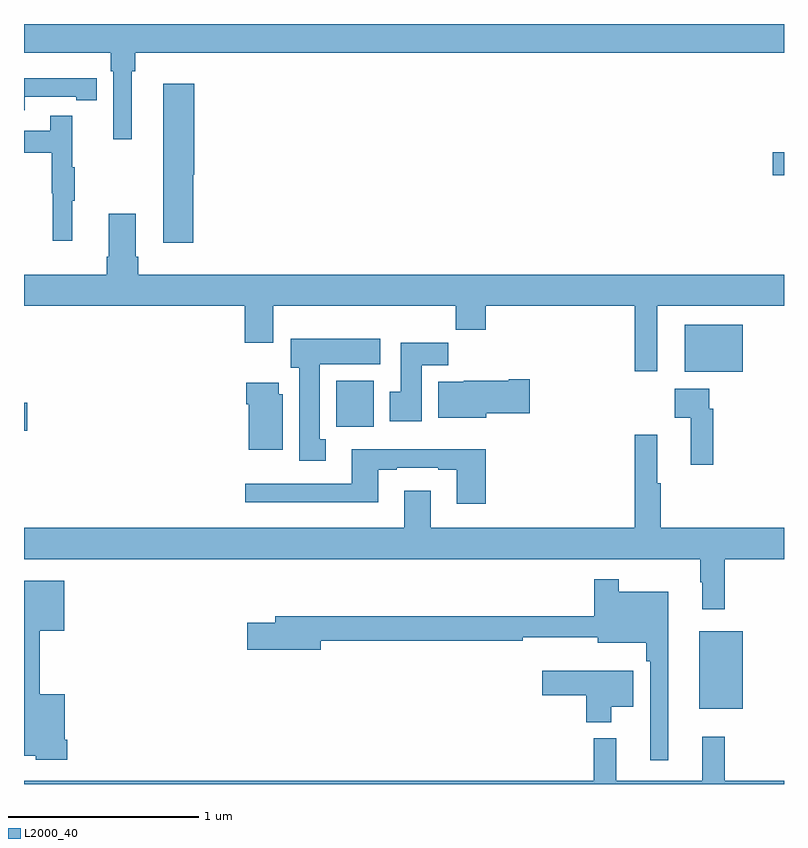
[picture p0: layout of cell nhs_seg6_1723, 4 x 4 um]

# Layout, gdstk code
import gdstk
lib = gdstk.Library(unit=1e-6, precision=1e-09)
def R(c, l, rs):  # rectangles x0, y0, x1, y1
    for r in rs: c.add(gdstk.rectangle(r[:2], r[2:], *l))
def P(c, l, *ps):  # polygons
    for p in ps: c.add(gdstk.Polygon(p, *l))
L2000_40 = (2000, 40)

nhs_seg6_1723 = lib.new_cell('nhs_seg6_1723')
R(nhs_seg6_1723, L2000_40, [(218.555,931.895,218.782,932.305), (215,933.359,215.017,933.506), (216.644,933.38,216.841,933.622), (218.477,933.671,218.782,933.916), (218.94,934.703,219,934.825)])
P(nhs_seg6_1723, L2000_40, [(215.566,935.252),(215.585,935.252),(215.585,935.348),(219,935.348),(219,935.5),(215,935.5),(215,935.348),(215.456,935.348),(215.456,935.252),(215.469,935.252),(215.469,934.893),(215.566,934.893)],
  [(215.004,935.118),(215.276,935.118),(215.276,935.098),(215.384,935.098),(215.384,935.214),(215.276,935.214),(215.276,935.215),(215,935.215),(215,935.046),(215.004,935.046)],
  [(215.891,934.707),(215.896,934.707),(215.896,935.185),(215.732,935.185),(215.732,934.35),(215.891,934.35)],
  [(215.255,934.571),(215.266,934.571),(215.266,934.745),(215.255,934.745),(215.255,935.017),(215.137,935.017),(215.137,934.938),(215,934.938),(215,934.822),(215.145,934.822),(215.145,934.608),(215.152,934.608),(215.152,934.359),(215.255,934.359)],
  [(218.332,934.016),(219,934.016),(219,934.18),(215.6,934.18),(215.6,934.276),(215.587,934.276),(215.587,934.501),(215.447,934.501),(215.447,934.276),(215.435,934.276),(215.435,934.18),(215,934.18),(215,934.016),(216.161,934.016),(216.161,933.822),(216.313,933.822),(216.313,934.016),(217.273,934.016),(217.273,933.892),(217.43,933.892),(217.43,934.016),(218.215,934.016),(218.215,933.672),(218.332,933.672)],
  [(216.589,933.314),(216.556,933.314),(216.556,933.71),(216.874,933.71),(216.874,933.844),(216.404,933.844),(216.404,933.69),(216.449,933.69),(216.449,933.201),(216.589,933.201)],
  [(217.093,933.704),(217.232,933.704),(217.232,933.823),(216.983,933.823),(216.983,933.564),(216.926,933.564),(216.926,933.408),(217.093,933.408)],
  [(217.432,933.452),(217.663,933.452),(217.663,933.63),(217.55,933.63),(217.55,933.622),(217.314,933.622),(217.314,933.616),(217.181,933.616),(217.181,933.428),(217.432,933.428)],
  [(216.361,933.552),(216.34,933.552),(216.34,933.613),(216.17,933.613),(216.17,933.5),(216.182,933.5),(216.182,933.26),(216.361,933.26)],
  [(218.627,933.476),(218.607,933.476),(218.607,933.58),(218.424,933.58),(218.424,933.428),(218.51,933.428),(218.51,933.18),(218.627,933.18)],
  [(217.43,933.262),(216.725,933.262),(216.725,933.081),(216.165,933.081),(216.165,932.984),(216.865,932.984),(216.865,933.153),(216.961,933.153),(216.961,933.165),(217.181,933.165),(217.181,933.153),(217.277,933.153),(217.277,932.976),(217.43,932.976)],
  [(218.351,933.084),(218.333,933.084),(218.333,933.337),(218.215,933.337),(218.215,932.848),(217.141,932.848),(217.141,933.043),(217.001,933.043),(217.001,932.848),(215,932.848),(215,932.684),(218.559,932.684),(218.559,932.561),(218.57,932.561),(218.57,932.421),(218.687,932.421),(218.687,932.684),(219,932.684),(219,932.848),(218.351,932.848)],
  [(218.392,932.512),(218.131,932.512),(218.131,932.578),(218.002,932.578),(218.002,932.383),(216.323,932.383),(216.323,932.349),(216.174,932.349),(216.174,932.207),(216.562,932.207),(216.562,932.254),(217.625,932.254),(217.625,932.273),(218.021,932.273),(218.021,932.243),(218.275,932.243),(218.275,932.147),(218.295,932.147),(218.295,931.626),(218.392,931.626)],
  [(215.228,931.732),(215.215,931.732),(215.215,931.972),(215.083,931.972),(215.083,932.306),(215.212,932.306),(215.212,932.569),(215,932.569),(215,931.649),(215.061,931.649),(215.061,931.628),(215.228,931.628)],
  [(218.092,931.907),(218.206,931.907),(218.206,932.095),(217.728,932.095),(217.728,931.966),(217.958,931.966),(217.958,931.826),(218.092,931.826)],
  [(219,931.516),(218.687,931.516),(218.687,931.75),(218.57,931.75),(218.57,931.516),(218.117,931.516),(218.117,931.741),(217.999,931.741),(217.999,931.516),(215,931.516),(215,931.5),(219,931.5)])

lib.write_gds('nhs_seg6_1723.gds')
